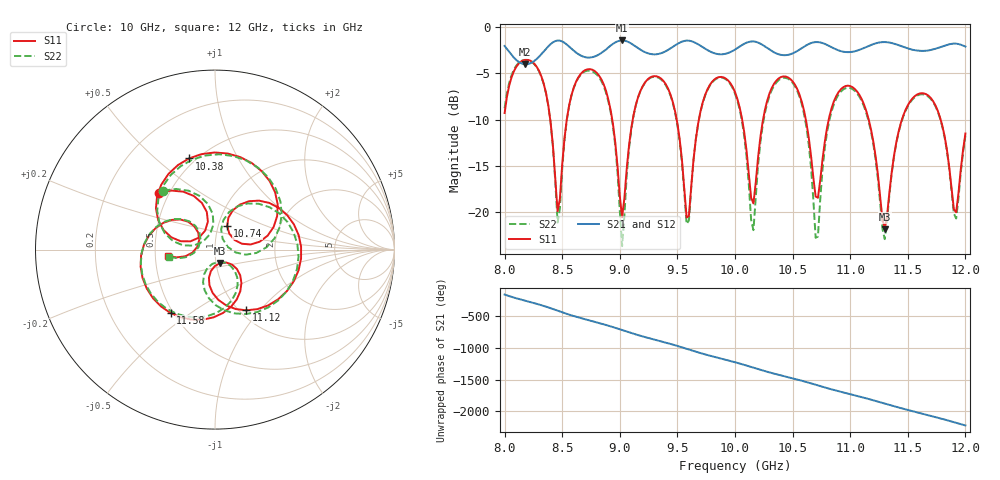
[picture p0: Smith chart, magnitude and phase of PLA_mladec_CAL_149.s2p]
#  HZ  S  DB  R  50.00
!  Rohde  &  Schwarz  ZVA67  4Ports  -  Version  3.60  -  1305.7002k04  SN:  101051
!  Date:  2012-04-04  16:28:41
!  Measurements:  S11  S21  S12  S22
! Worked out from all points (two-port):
!   201 points, 8 GHz to 12 GHz, reference 50 ohm
!   highest |S21| = -1.44 dB at 9.02 GHz (marker M1); lowest = -4.0 dB at 8.18 GHz (marker M2)
!   |S21| within 3 dB of the highest: start of sweep to end of sweep
!   lowest |S11| = -21.9 dB at 11.3 GHz (marker M3), VSWR 1.18, Z = 52.4 - j7.9 ohm
!   |S11| at or under -10 dB: 9.493 GHz to 9.687 GHz (193.5 MHz wide, 2.02 % of centre); 11.16 GHz to 11.45 GHz (289.1 MHz wide, 2.56 % of centre); 11.78 GHz to end of sweep (the widest 3 of 7)
!   |S22| runs from -23.7 to -3.5 dB; largest |S21 - S12| = 0.011
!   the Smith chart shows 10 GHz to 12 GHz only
!   S11 on the Smith chart (normalised r, x): 10 GHz: 0.44, +0.35; 10.38 GHz: 0.46, +0.65; 10.74 GHz: 1.10, +0.30; 11.12 GHz: 1.08, -0.85; 11.58 GHz: 0.48, -0.42; 12 GHz: 0.58, -0.04
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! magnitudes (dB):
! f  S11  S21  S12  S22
! 8 GHz  -9.3  -2.0  -2.1  -8.8
! 8.18 GHz  -3.5  -4.0  -4.0  -3.5
! 8.36 GHz  -7.2  -2.3  -2.4  -7.2
! 8.46 GHz  -19.9  -1.4  -1.5  -21.2
! 8.68 GHz  -4.8  -3.2  -3.2  -4.9
! 8.9 GHz  -7.8  -2.2  -2.2  -8.0
! 9.02 GHz  -20.6  -1.4  -1.5  -23.7
! 9.12 GHz  -9.5  -1.9  -2.0  -9.6
! 9.34 GHz  -5.4  -2.9  -2.9  -5.5
! 9.58 GHz  -20.6  -1.5  -1.5  -21.3
! 9.74 GHz  -7.4  -2.3  -2.3  -7.4
! 10 GHz  -7.0  -2.4  -2.4  -7.2
! 10.16 GHz  -19.1  -1.6  -1.6  -22.0
! 10.38 GHz  -5.5  -2.9  -3.0  -5.7
! 10.68 GHz  -16.3  -1.7  -1.7  -18.7
! 10.74 GHz  -16.6  -1.7  -1.7  -18.6
! 11.12 GHz  -8.4  -2.3  -2.3  -8.6
! 11.3 GHz  -21.9  -1.6  -1.6  -23.0
! 11.34 GHz  -17.9  -1.7  -1.7  -18.2
! 11.58 GHz  -7.3  -2.5  -2.5  -7.4
! 11.92 GHz  -20.0  -1.8  -1.8  -20.7
! 12 GHz  -11.5  -2.1  -2.1  -11.7
